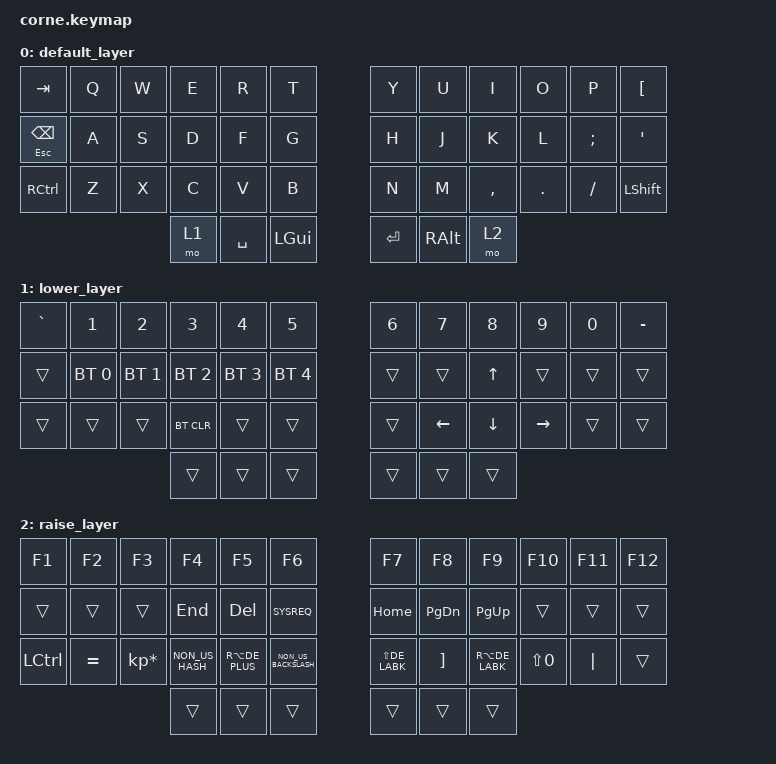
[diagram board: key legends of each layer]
/*
 * Copyright (c) 2020 The ZMK Contributors
 *
 * SPDX-License-Identifier: MIT
 */

#include <behaviors.dtsi>
#include <dt-bindings/zmk/keys.h>
#include <dt-bindings/zmk/bt.h>

#include "german-keymap.h"

/ {
        keymap {
                compatible = "zmk,keymap";

                default_layer {
// -----------------------------------------------------------------------------------------
// |  TAB   |  Q  |  W  |  E  |  R  |  T  |   |  Y   |  U   |  I  |  O  |  P  |LBKT/ü |
// |BSPC/ESC|  A  |  S  |  D  |  F  |  G  |   |  H   |  J   |  K  |  L  | ;/ö |  '/ä  |
// | RCTRL  |  Z  |  X  |  C  |  V  |  B  |   |  N   |  M   |  ,  |  .  |  -  | LSHFT |
//                      | LWR | SPC | GUI |   | ENTR | RALT | RSE |
                        bindings = <
   &kp TAB      &kp Q &kp W &kp E  &kp R     &kp T    &kp Y     &kp U    &kp I     &kp O   &kp P     &kp LBKT
   &mt ESC BSPC &kp A &kp S &kp D  &kp F     &kp G    &kp H     &kp J    &kp K     &kp L   &kp SEMI  &kp SQT
   &kp RCTRL    &kp Z &kp X &kp C  &kp V     &kp B    &kp N     &kp M    &kp COMMA &kp DOT &kp SLASH &kp LSHFT
                            &mo 1  &kp SPACE &kp LGUI &kp ENTER &kp RALT &mo 2 
                        >;
                };

                lower_layer {
// -----------------------------------------------------------------------------------------
// | `|  1  |  2  |  3  |  4  |  5  |   | 6 |  7  |  8  |  9  | 0 | - |
// |  | BT1 | BT2 | BT3 | BT4 | BT5 |   |   |     |  UP |     |   |   |
// |  |     |     |BTCLR|     |     |   |   | LFT | DWN | RGT |   |   |
//                |     |     |     |   |   |     |     |
                        bindings = <
   &kp GRAVE  &kp N1       &kp N2       &kp N3       &kp N4       &kp N5       &kp N6 &kp N7   &kp N8   &kp N9    &kp N0 &kp MINUS
   &trans     &bt BT_SEL 0 &bt BT_SEL 1 &bt BT_SEL 2 &bt BT_SEL 3 &bt BT_SEL 4 &trans &trans   &kp UP   &trans    &trans &trans
   &trans     &trans       &trans       &bt BT_CLR   &trans       &trans       &trans &kp LEFT &kp DOWN &kp RIGHT &trans &trans
                          	        &trans       &trans       &trans       &trans &trans   &trans  
                        >;
                };

                raise_layer {
// -----------------------------------------------------------------------------------------
// | F1  | F2  | F3  | F4  | F5  |  F6  |   | F7  | F8  |  F9 | F10 | F11 | F12 |
// |     |     |     | END | DEL |SYSREQ|   |HOME |PG_DN|PG_UP|     |     |     |
// |LCTRL|  ´  |  *  |  #  |  ~  |   <  |   |  >  |  +  |  |  |  =  |  '  |     |
//                   |     |     |      |   |     |     |     |
                        bindings = <
   &kp F1    &kp F2    &kp F3          &kp F4          &kp F5          &kp F6               &kp F7          &kp F8            &kp F9           &kp F10          &kp F11  &kp F12
   &trans    &trans    &trans          &kp END         &kp DEL         &kp SYSREQ           &kp HOME        &kp PG_DN         &kp PG_UP        &trans           &trans   &trans
   &kp LCTRL &kp EQUAL &kp KP_MULTIPLY &kp NON_US_HASH &kp RA(DE_PLUS) &kp NON_US_BACKSLASH &kp LS(DE_LABK) &kp RIGHT_BRACKET &kp RA(DE_LABK)  &kp LS(NUMBER_0) &kp PIPE &trans
                                       &trans          &trans          &trans               &trans          &trans            &trans     
                        >;
                };

        };
        
};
